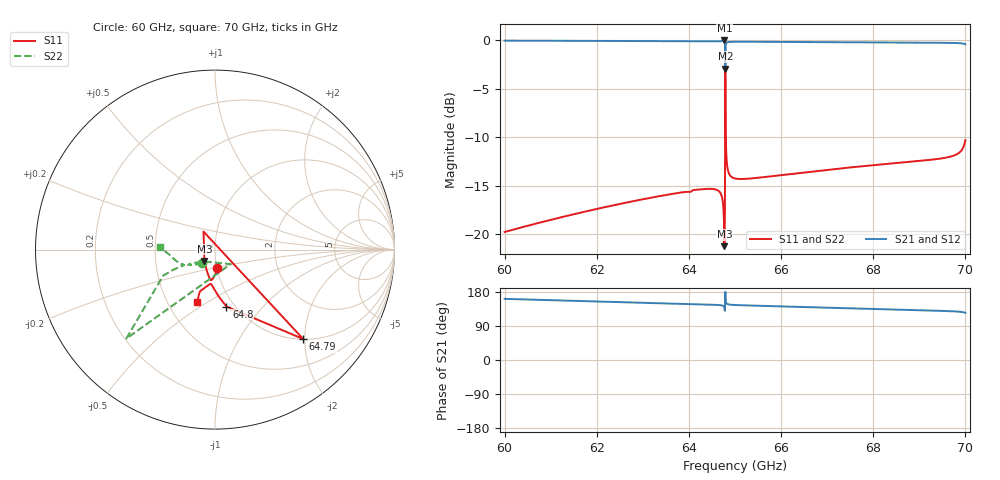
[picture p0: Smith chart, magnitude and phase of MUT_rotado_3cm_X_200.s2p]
! TOUCHSTONE file generated by CST MICROWAVE STUDIO
! Date and time: Sat Feb 17 14:30:11 2024
! Project name: MUT_rotado.cst
! Parameters = {AngX=2}
! Header version: 2018
! Port assignment regex: !\s*Touchstone port\s*([0-9]+)\s*=\s*(CST MWS port|CST DS port)\s*([0-9]+|Zmin|Zmax)\s*\(\"(.*)\"\)(\s*mode\s*([0-9]+))?.*
! Touchstone port assignment:
! Touchstone port 1 = CST MWS port 1 ("")
! Touchstone port 2 = CST MWS port 2 ("")
# GHz S MA R 376.7
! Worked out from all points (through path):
!   1001 points, 60 GHz to 70 GHz, reference 376.7 ohm
!   highest |S21| = -0.03 dB at 64.77 GHz (marker M1); lowest = -2.9 dB at 64.79 GHz (marker M2)
!   lowest |S11| = -21.2 dB at 64.77 GHz (marker M3), VSWR 1.19, Z = 332 - j42.9 ohm
!   |S11| at or under -10 dB: start of sweep to 64.79 GHz; 64.8 GHz to end of sweep
!   |S22| runs from -21.2 to -3.1 dB; largest |S21 - S12| = 0.00038
!   S11 on the Smith chart (normalised r, x): 60 GHz: 1.01, -0.21; 64.79 GHz: 1.01, -1.97; 64.8 GHz: 0.92, -0.65; 70 GHz: 0.70, -0.45
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60  0.1028 -82.7  0.9944 161.4  0.9946 161.4  0.1028 -134.6
61.67  0.1297 -87.9  0.9917 155.8  0.9916 155.8  0.1296 -140.6
63.34  0.157 -93.0  0.9873 150.1  0.9875 150.1  0.1571 -146.7
64.54  0.171 -97.9  0.9852 145.7  0.9852 145.7  0.171 -150.7
64.68  0.1637 -100.3  0.9865 144.7  0.9865 144.7  0.1638 -150.4
64.71  0.1578 -101.8  0.9875 144.2  0.9875 144.2  0.1578 -149.9
64.73  0.1501 -103.8  0.9887 143.6  0.9888 143.6  0.1502 -149.0
64.74  0.1438 -105.5  0.9896 143.1  0.9897 143.1  0.1439 -148.2
64.77  0.08691 -132.5  0.9963 138.9  0.9964 138.8  0.08695 -129.8
64.79  0.6999 -45.4  0.7142 179.9  0.7142 179.9  0.6999 -134.9
64.8  0.3236 -78.6  0.9462 154.0  0.9462 154.0  0.3236 -153.3
64.82  0.2381 -88.5  0.9713 148.7  0.9713 148.7  0.2381 -154.1
64.83  0.2253 -90.4  0.9743 147.8  0.9744 147.8  0.2253 -153.9
64.84  0.2174 -91.6  0.9761 147.3  0.9762 147.3  0.2174 -153.8
64.85  0.212 -92.5  0.9773 146.9  0.9774 146.9  0.212 -153.7
64.88  0.2031 -94.0  0.9792 146.3  0.9793 146.3  0.2031 -153.4
65  0.194 -96.3  0.9811 145.2  0.9812 145.2  0.194 -153.4
66.67  0.2104 -102.5  0.9776 139.2  0.9776 139.2  0.2104 -159.1
68.34  0.2309 -107.1  0.973 133.6  0.973 133.6  0.2309 -165.7
69.69  0.2518 -109.8  0.9678 128.7  0.9678 128.7  0.2518 -172.7
69.88  0.2649 -109.7  0.9642 127.4  0.9642 127.4  0.2649 -175.6
70  0.3058 -108.7  0.9521 124.3  0.9522 124.3  0.3057 177.3
